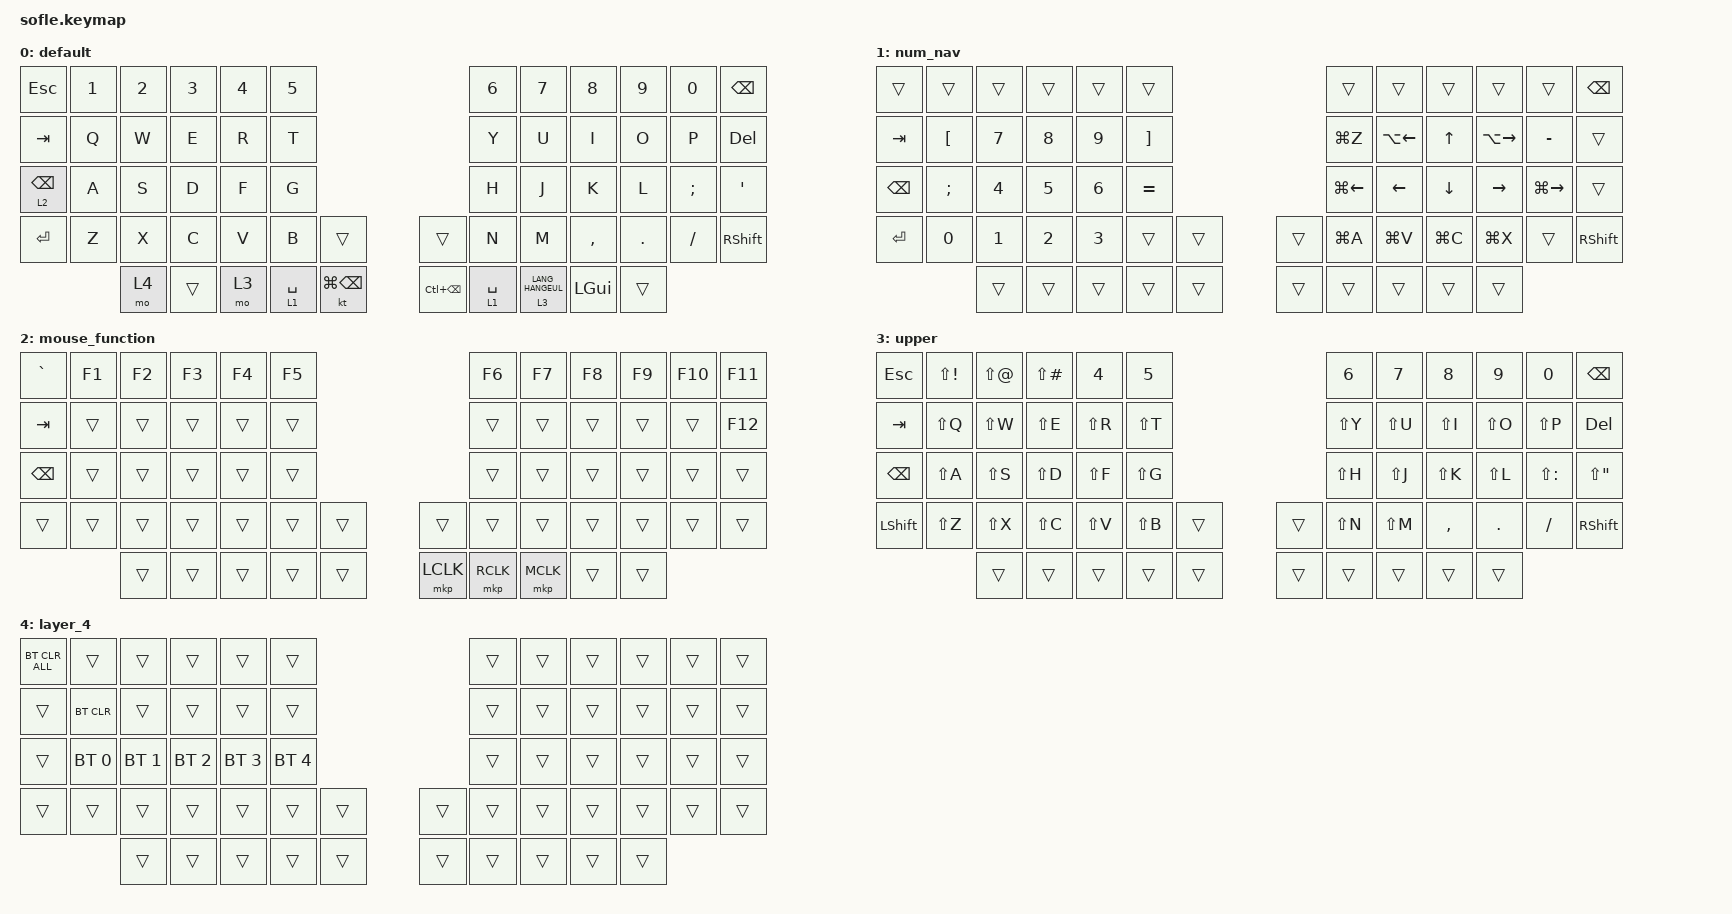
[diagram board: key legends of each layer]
/*
 * Copyright (c) 2020 The ZMK Contributors
 *
 * SPDX-License-Identifier: MIT
 */

#include <dt-bindings/zmk/mouse.h>
#include <behaviors.dtsi>
#include <dt-bindings/zmk/bt.h>
#include <dt-bindings/zmk/keys.h>
#include <dt-bindings/zmk/keys.h>
#include <dt-bindings/zmk/pointing.h>

/ {
    keymap {
        compatible = "zmk,keymap";

        default {
            bindings = <
&kp ESC          &kp N1  &kp N2  &kp N3  &kp N4  &kp N5                                               &kp N6       &kp N7              &kp N8     &kp N9   &kp N0    &kp BSPC
&kp TAB          &kp Q   &kp W   &kp E   &kp R   &kp T                                                &kp Y        &kp U               &kp I      &kp O    &kp P     &kp DEL
&lt 2 BACKSPACE  &kp A   &kp S   &kp D   &kp F   &kp G                                                &kp H        &kp J               &kp K      &kp L    &kp SEMI  &kp SQT
&kp ENTER        &kp Z   &kp X   &kp C   &kp V   &kp B        &trans               &trans             &kp N        &kp M               &kp COMMA  &kp DOT  &kp FSLH  &kp RSHFT
                         &mo 4   &trans  &mo 3   &lt 1 SPACE  &kt LG(BACKSPACE)    &kp LC(BACKSPACE)  &lt 1 SPACE  &lt 3 LANG_HANGEUL  &kp LGUI   &trans
            >;
        };

        num_nav {
            bindings = <
&trans     &trans    &trans  &trans  &trans  &trans                       &trans        &trans        &trans     &trans         &trans         &kp BSPC
&kp TAB    &kp LBKT  &kp N7  &kp N8  &kp N9  &kp RBKT                     &kp LG(Z)     &kp LA(LEFT)  &kp UP     &kp LA(RIGHT)  &kp MINUS      &trans
&kp BSPC   &kp SEMI  &kp N4  &kp N5  &kp N6  &kp EQUAL                    &kp LG(LEFT)  &kp LEFT      &kp DOWN   &kp RIGHT      &kp LG(RIGHT)  &trans
&kp ENTER  &kp N0    &kp N1  &kp N2  &kp N3  &trans     &trans    &trans  &kp LG(A)     &kp LG(V)     &kp LG(C)  &kp LG(X)      &trans         &kp RIGHT_SHIFT
                     &trans  &trans  &trans  &trans     &trans    &trans  &trans        &trans        &trans     &trans
            >;
        };

        mouse_function {
            bindings = <
&kp GRAVE  &kp F1  &kp F2  &kp F3  &kp F4  &kp F5                       &kp F6     &kp F7     &kp F8  &kp F9  &kp F10  &kp F11
&kp TAB    &trans  &trans  &trans  &trans  &trans                       &trans     &trans     &trans  &trans  &trans   &kp F12
&kp BSPC   &trans  &trans  &trans  &trans  &trans                       &trans     &trans     &trans  &trans  &trans   &trans
&trans     &trans  &trans  &trans  &trans  &trans  &trans    &trans     &trans     &trans     &trans  &trans  &trans   &trans
                   &trans  &trans  &trans  &trans  &trans    &mkp LCLK  &mkp RCLK  &mkp MCLK  &trans  &trans
            >;
        };

        upper {
            bindings = <
&kp ESC    &kp LS(EXCL)  &kp LS(AT)  &kp LS(POUND)  &kp N4     &kp N5                       &kp N6     &kp N7     &kp N8     &kp N9     &kp N0         &kp BSPC
&kp TAB    &kp LS(Q)     &kp LS(W)   &kp LS(E)      &kp LS(R)  &kp LS(T)                    &kp LS(Y)  &kp LS(U)  &kp LS(I)  &kp LS(O)  &kp LS(P)      &kp DEL
&kp BSPC   &kp LS(A)     &kp LS(S)   &kp LS(D)      &kp LS(F)  &kp LS(G)                    &kp LS(H)  &kp LS(J)  &kp LS(K)  &kp LS(L)  &kp LS(COLON)  &kp LS(DQT)
&kp LSHFT  &kp LS(Z)     &kp LS(X)   &kp LS(C)      &kp LS(V)  &kp LS(B)  &trans    &trans  &kp LS(N)  &kp LS(M)  &kp COMMA  &kp DOT    &kp FSLH       &kp RSHFT
                         &trans      &trans         &trans     &trans     &trans    &trans  &trans     &trans     &trans     &trans
            >;
        };

        layer_4 {
            bindings = <
&bt BT_CLR_ALL  &trans        &trans        &trans        &trans        &trans                          &trans  &trans  &trans  &trans  &trans  &trans
&trans          &bt BT_CLR    &trans        &trans        &trans        &trans                          &trans  &trans  &trans  &trans  &trans  &trans
&trans          &bt BT_SEL 0  &bt BT_SEL 1  &bt BT_SEL 2  &bt BT_SEL 3  &bt BT_SEL 4                    &trans  &trans  &trans  &trans  &trans  &trans
&trans          &trans        &trans        &trans        &trans        &trans        &trans    &trans  &trans  &trans  &trans  &trans  &trans  &trans
                              &trans        &trans        &trans        &trans        &trans    &trans  &trans  &trans  &trans  &trans
            >;
        };
    };
};
